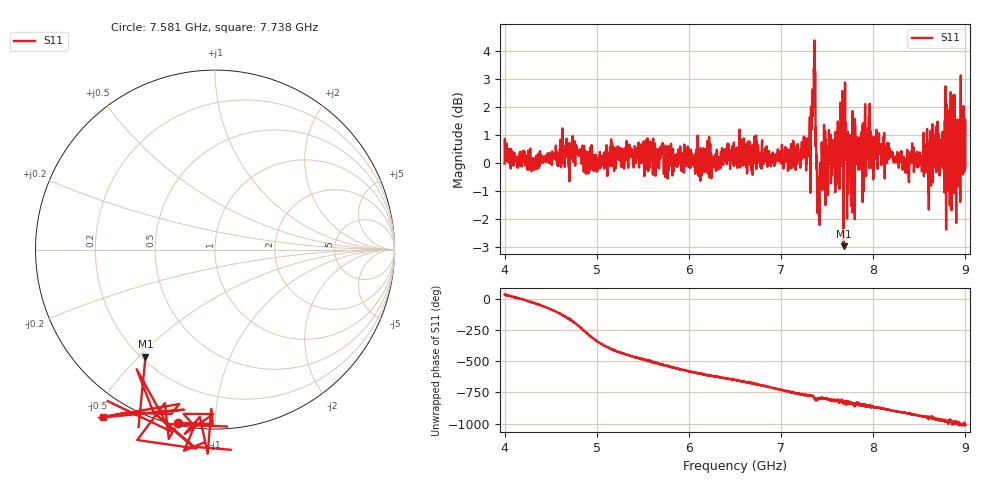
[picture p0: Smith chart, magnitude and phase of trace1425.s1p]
! Created with skrf 1.8.0 (http://scikit-rf.org).
# Hz S RI R 50.0
!freq ReS11 ImS11
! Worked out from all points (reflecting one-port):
!   1601 points, 4 GHz to 9 GHz, reference 50 ohm
!   lowest |S11| = -3.0 dB at 7.678 GHz (marker M1), VSWR 5.93, Z = 10.8 - j26.2 ohm
!   phase of S11 starts at 32 deg and turns -1043 deg over the sweep
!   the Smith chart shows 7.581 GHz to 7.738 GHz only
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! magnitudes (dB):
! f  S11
! 4 GHz  0.0
! 4.625 GHz  0.6
! 4.988 GHz  0.0
! 5.25 GHz  0.5
! 5.875 GHz  -0.1
! 6.5 GHz  0.0
! 7.125 GHz  0.3
! 7.294 GHz  0.6
! 7.347 GHz  2.0
! 7.362 GHz  4.4
! 7.4 GHz  -0.7
! 7.412 GHz  -1.3
! 7.481 GHz  -1.5
! 7.609 GHz  1.1
! 7.631 GHz  1.2
! 7.678 GHz  -3.0
! 7.703 GHz  1.4
! 7.75 GHz  1.0
! 7.928 GHz  0.4
! 7.997 GHz  0.7
! 8.375 GHz  0.2
! 8.569 GHz  0.1
! 8.603 GHz  -1.7
! 8.766 GHz  1.1
! 8.8 GHz  1.2
! 8.919 GHz  0.2
! 8.972 GHz  0.6
! 9 GHz  -0.2
